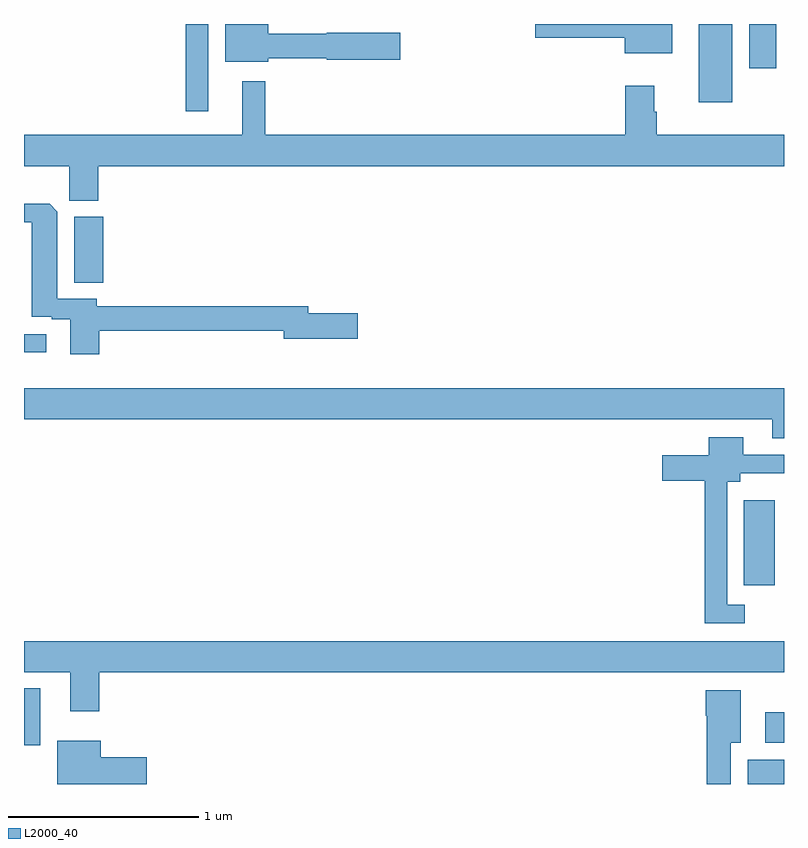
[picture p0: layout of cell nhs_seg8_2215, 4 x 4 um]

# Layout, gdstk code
import gdstk
lib = gdstk.Library(unit=1e-6, precision=1e-09)
def R(c, l, rs):  # rectangles x0, y0, x1, y1
    for r in rs: c.add(gdstk.rectangle(r[:2], r[2:], *l))
def P(c, l, *ps):  # polygons
    for p in ps: c.add(gdstk.Polygon(p, *l))
L2000_40 = (2000, 40)

nhs_seg8_2215 = lib.new_cell('nhs_seg8_2215')
R(nhs_seg8_2215, L2000_40, [(254.81,1127.9,255,1128.028), (251,1128.105,251.086,1128.403), (254.901,1128.117,255,1128.277), (254.789,1128.945,254.95,1129.393), (251,1130.172,251.116,1130.268), (251.264,1130.539,251.417,1130.886), (251.85,1131.441,251.971,1131.9), (254.552,1131.488,254.728,1131.9), (254.816,1131.666,254.959,1131.9)])
P(nhs_seg8_2215, L2000_40, [(252.286,1131.72),(252.594,1131.72),(252.594,1131.712),(252.979,1131.712),(252.979,1131.854),(252.594,1131.854),(252.594,1131.848),(252.286,1131.848),(252.286,1131.9),(252.059,1131.9),(252.059,1131.701),(252.286,1131.701)],
  [(254.413,1131.9),(253.692,1131.9),(253.692,1131.827),(254.162,1131.827),(254.162,1131.746),(254.413,1131.746)],
  [(251.39,1131.152),(255,1131.152),(255,1131.316),(254.33,1131.316),(254.33,1131.437),(254.317,1131.437),(254.317,1131.574),(254.165,1131.574),(254.165,1131.316),(252.271,1131.316),(252.271,1131.598),(252.149,1131.598),(252.149,1131.316),(251,1131.316),(251,1131.152),(251.239,1131.152),(251.239,1130.971),(251.39,1130.971)],
  [(251.396,1130.286),(252.368,1130.286),(252.368,1130.243),(252.757,1130.243),(252.757,1130.378),(252.496,1130.378),(252.496,1130.414),(251.383,1130.414),(251.383,1130.454),(251.176,1130.454),(251.176,1130.912),(251.135,1130.954),(251,1130.954),(251,1130.856),(251.042,1130.856),(251.042,1130.358),(251.147,1130.358),(251.147,1130.346),(251.243,1130.346),(251.243,1130.163),(251.396,1130.163)],
  [(251,1129.82),(254.939,1129.82),(254.939,1129.721),(255,1129.721),(255,1129.984),(251,1129.984)],
  [(254.794,1128.843),(254.7,1128.843),(254.7,1129.49),(254.77,1129.49),(254.77,1129.536),(255,1129.536),(255,1129.632),(254.785,1129.632),(254.785,1129.726),(254.603,1129.726),(254.603,1129.63),(254.358,1129.63),(254.358,1129.496),(254.584,1129.496),(254.584,1128.747),(254.794,1128.747)],
  [(251.396,1128.488),(255,1128.488),(255,1128.652),(251,1128.652),(251,1128.488),(251.243,1128.488),(251.243,1128.282),(251.396,1128.282)],
  [(254.719,1128.116),(254.773,1128.116),(254.773,1128.394),(254.588,1128.394),(254.588,1128.258),(254.594,1128.258),(254.594,1127.9),(254.719,1127.9)],
  [(251.647,1128.042),(251.404,1128.042),(251.404,1128.127),(251.174,1128.127),(251.174,1127.9),(251.647,1127.9)])

lib.write_gds('nhs_seg8_2215.gds')
